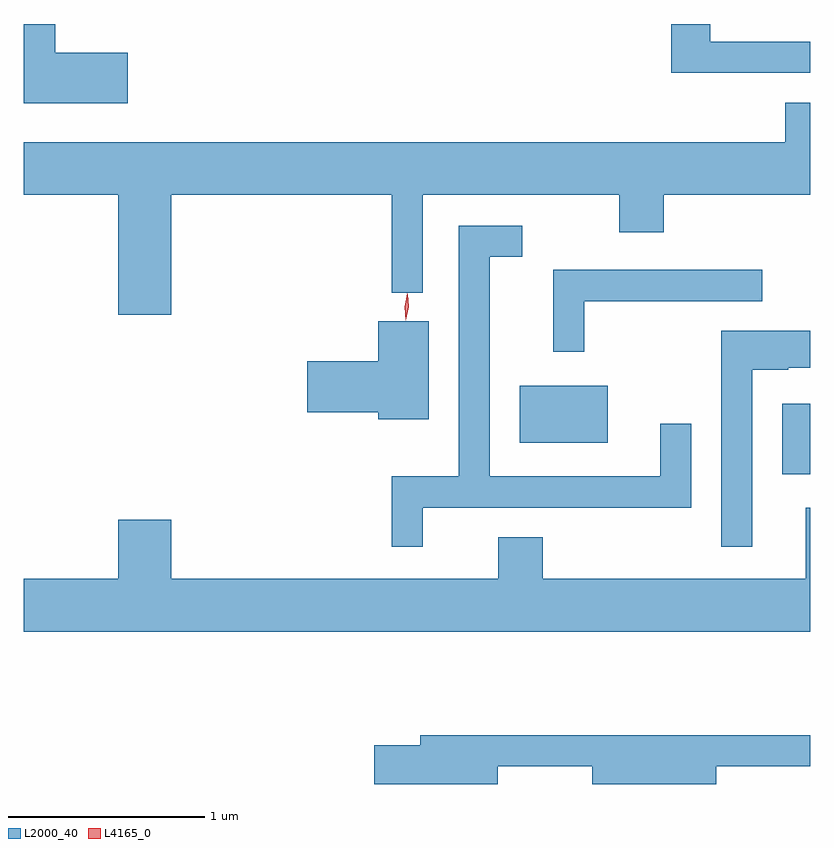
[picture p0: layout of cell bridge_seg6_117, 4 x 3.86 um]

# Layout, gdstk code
import gdstk
lib = gdstk.Library(unit=1e-6, precision=1e-09)
def R(c, l, rs):  # rectangles x0, y0, x1, y1
    for r in rs: c.add(gdstk.rectangle(r[:2], r[2:], *l))
def P(c, l, *ps):  # polygons
    for p in ps: c.add(gdstk.Polygon(p, *l))
L2000_40 = (2000, 40)
L4165_0 = (4165, 0)

bridge_seg6_117 = lib.new_cell('bridge_seg6_117')
R(bridge_seg6_117, L2000_40, [(1137.531,1606.336,1137.674,1606.694), (1136.196,1606.496,1136.644,1606.784)])
P(bridge_seg6_117, L2000_40, [(1134.204,1608.479),(1133.834,1608.479),(1133.834,1608.624),(1133.674,1608.624),(1133.674,1608.221),(1134.204,1608.221)],
  [(1137.674,1608.534),(1137.164,1608.534),(1137.164,1608.624),(1136.966,1608.624),(1136.966,1608.376),(1137.674,1608.376)],
  [(1134.424,1607.756),(1135.546,1607.756),(1135.546,1607.258),(1135.704,1607.258),(1135.704,1607.756),(1136.701,1607.756),(1136.701,1607.566),(1136.929,1607.566),(1136.929,1607.756),(1137.674,1607.756),(1137.674,1608.224),(1137.546,1608.224),(1137.546,1608.024),(1133.674,1608.024),(1133.674,1607.756),(1134.156,1607.756),(1134.156,1607.146),(1134.424,1607.146)],
  [(1135.704,1606.166),(1137.069,1606.166),(1137.069,1606.593),(1136.911,1606.593),(1136.911,1606.324),(1136.044,1606.324),(1136.044,1607.441),(1136.208,1607.441),(1136.208,1607.599),(1135.886,1607.599),(1135.886,1606.324),(1135.546,1606.324),(1135.546,1605.968),(1135.704,1605.968)],
  [(1136.524,1607.216),(1137.428,1607.216),(1137.428,1607.374),(1136.366,1607.374),(1136.366,1606.958),(1136.524,1606.958)],
  [(1135.734,1607.114),(1135.476,1607.114),(1135.476,1606.909),(1135.116,1606.909),(1135.116,1606.651),(1135.476,1606.651),(1135.476,1606.616),(1135.734,1606.616)],
  [(1137.379,1606.866),(1137.56,1606.866),(1137.56,1606.876),(1137.674,1606.876),(1137.674,1607.064),(1137.221,1607.064),(1137.221,1605.968),(1137.379,1605.968)],
  [(1137.674,1606.164),(1137.651,1606.164),(1137.651,1605.804),(1136.314,1605.804),(1136.314,1606.014),(1136.086,1606.014),(1136.086,1605.804),(1134.424,1605.804),(1134.424,1606.104),(1134.156,1606.104),(1134.156,1605.804),(1133.674,1605.804),(1133.674,1605.536),(1137.674,1605.536)],
  [(1136.084,1604.851),(1136.566,1604.851),(1136.566,1604.761),(1137.194,1604.761),(1137.194,1604.851),(1137.674,1604.851),(1137.674,1605.009),(1135.691,1605.009),(1135.691,1604.959),(1135.456,1604.959),(1135.456,1604.761),(1136.084,1604.761)])
P(bridge_seg6_117, L4165_0, [(1135.618,1607.118),(1135.618,1607.118),(1135.611,1607.187),(1135.624,1607.254),(1135.625,1607.255),(1135.625,1607.254),(1135.631,1607.186),(1135.618,1607.118)],
  [(1135.617,1607.121),(1135.617,1607.121),(1135.611,1607.187),(1135.624,1607.251),(1135.625,1607.252),(1135.626,1607.251),(1135.631,1607.186),(1135.618,1607.121)])

lib.write_gds('bridge_seg6_117.gds')
